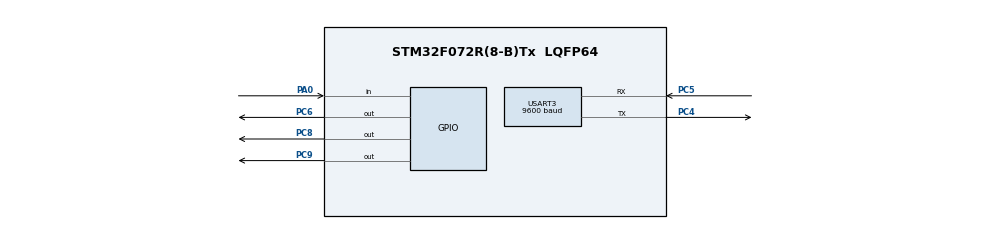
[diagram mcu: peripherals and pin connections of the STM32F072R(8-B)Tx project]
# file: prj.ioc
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FREERTOS.Tasks01=motorControl,0,128,StartMotorControl,Default,NULL,Dynamic,NULL,NULL;mainTask,-3,128,StartMainTask,Default,NULL,Dynamic,NULL,NULL
Mcu.Family=STM32F0
Mcu.Name=STM32F072R(8-B)Tx
Mcu.Package=LQFP64
PA0.Signal=GPIO_Input
PC4.Mode=Asynchronous
PC4.Signal=USART3_TX
PC5.Mode=Asynchronous
PC5.Signal=USART3_RX
PC6.Signal=GPIO_Output
PC8.Signal=GPIO_Output
PC9.Signal=GPIO_Output
ProjectManager.HeapSize=0x200
ProjectManager.StackSize=0x400
ProjectManager.TargetToolchain=MDK-ARM V5
USART3.BaudRate=9600
USART3.VirtualMode-Asynchronous=VM_ASYNC
USART3.WordLength=WORDLENGTH_8B
VP_FREERTOS_VS_ENABLE.Mode=Enabled
board=prj

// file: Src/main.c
/**
  ******************************************************************************
  * File Name          : main.c
  * Description        : Main program body
  ******************************************************************************
  * This notice applies to any and all portions of this file
  * that are not between comment pairs USER CODE BEGIN and
  * USER CODE END. Other portions of this file, whether
  * inserted by the user or by software development tools
  * are owned by their respective copyright owners.
  *
  * Copyright (c) 2017 STMicroelectronics International N.V.
  * All rights reserved.
  *
  * Redistribution and use in source and binary forms, with or without
  * modification, are permitted, provided that the following conditions are met:
  *
  * 1. Redistribution of source code must retain the above copyright notice,
  *    this list of conditions and the following disclaimer.
  * 2. Redistributions in binary form must reproduce the above copyright notice,
  *    this list of conditions and the following disclaimer in the documentation
  *    and/or other materials provided with the distribution.
  * 3. Neither the name of STMicroelectronics nor the names of other
  *    contributors to this software may be used to endorse or promote products
  *    derived from this software without specific written permission.
  * 4. This software, including modifications and/or derivative works of this
  *    software, must execute solely and exclusively on microcontroller or
  *    microprocessor devices manufactured by or for STMicroelectronics.
  * 5. Redistribution and use of this software other than as permitted under
  *    this license is void and will automatically terminate your rights under
  *    this license.
  *
  * THIS SOFTWARE IS PROVIDED BY STMICROELECTRONICS AND CONTRIBUTORS "AS IS"
  * AND ANY EXPRESS, IMPLIED OR STATUTORY WARRANTIES, INCLUDING, BUT NOT
  * LIMITED TO, THE IMPLIED WARRANTIES OF MERCHANTABILITY, FITNESS FOR A
  * PARTICULAR PURPOSE AND NON-INFRINGEMENT OF THIRD PARTY INTELLECTUAL PROPERTY
  * RIGHTS ARE DISCLAIMED TO THE FULLEST EXTENT PERMITTED BY LAW. IN NO EVENT
  * SHALL STMICROELECTRONICS OR CONTRIBUTORS BE LIABLE FOR ANY DIRECT, INDIRECT,
  * INCIDENTAL, SPECIAL, EXEMPLARY, OR CONSEQUENTIAL DAMAGES (INCLUDING, BUT NOT
  * LIMITED TO, PROCUREMENT OF SUBSTITUTE GOODS OR SERVICES; LOSS OF USE, DATA,
  * OR PROFITS; OR BUSINESS INTERRUPTION) HOWEVER CAUSED AND ON ANY THEORY OF
  * LIABILITY, WHETHER IN CONTRACT, STRICT LIABILITY, OR TORT (INCLUDING
  * NEGLIGENCE OR OTHERWISE) ARISING IN ANY WAY OUT OF THE USE OF THIS SOFTWARE,
  * EVEN IF ADVISED OF THE POSSIBILITY OF SUCH DAMAGE.
  *
  ******************************************************************************
  */
#include "main.h"
#include "stm32f0xx_hal.h"
#include "cmsis_os.h"

/* USER CODE BEGIN Includes */
#include "motor.h"
/* USER CODE END Includes */

UART_HandleTypeDef huart3;

osThreadId motorControlHandle;
osThreadId mainTaskHandle;

/* USER CODE BEGIN PV */
/* Private variables ---------------------------------------------------------*/
xQueueHandle motorQueue;
/* USER CODE END PV */

void SystemClock_Config(void);
static void MX_GPIO_Init(void);
static void MX_USART3_UART_Init(void);
void StartMotorControl(void const * argument);
void StartMainTask(void const * argument);

/* USER CODE BEGIN PFP */
/* Private function prototypes -----------------------------------------------*/

/* USER CODE END PFP */

int main(void)
{

  /* MCU Configuration----------------------------------------------------------*/

  /* Reset of all peripherals, Initializes the Flash interface and the Systick. */
  HAL_Init();

  /* Configure the system clock */
  SystemClock_Config();

  /* Initialize all configured peripherals */
  MX_GPIO_Init();
  MX_USART3_UART_Init();

  /* Create the thread(s) */
  /* definition and creation of motorControl */
  osThreadDef(motorControl, StartMotorControl, osPriorityNormal, 0, 128);
  motorControlHandle = osThreadCreate(osThread(motorControl), NULL);

  /* definition and creation of mainTask */
  osThreadDef(mainTask, StartMainTask, osPriorityIdle, 0, 128);
  mainTaskHandle = osThreadCreate(osThread(mainTask), NULL);

  /* USER CODE BEGIN RTOS_QUEUES */
  motorQueue = xQueueCreate( 10, sizeof( FullMotorPackage ) );
  /* USER CODE END RTOS_QUEUES */

  /* Start scheduler */
  osKernelStart();

  /* We should never get here as control is now taken by the scheduler */

  /* Infinite loop */
  while (1)
  {

  }

}

/** System Clock Configuration
*/
void SystemClock_Config(void)
{

  RCC_OscInitTypeDef RCC_OscInitStruct;
  RCC_ClkInitTypeDef RCC_ClkInitStruct;

    /**Initializes the CPU, AHB and APB busses clocks
    */
  RCC_OscInitStruct.OscillatorType = RCC_OSCILLATORTYPE_HSI;
  RCC_OscInitStruct.HSIState = RCC_HSI_ON;
  RCC_OscInitStruct.HSICalibrationValue = 16;
  RCC_OscInitStruct.PLL.PLLState = RCC_PLL_NONE;
  if (HAL_RCC_OscConfig(&RCC_OscInitStruct) != HAL_OK)
  {
    _Error_Handler(__FILE__, __LINE__);
  }

    /**Initializes the CPU, AHB and APB busses clocks
    */
  RCC_ClkInitStruct.ClockType = RCC_CLOCKTYPE_HCLK|RCC_CLOCKTYPE_SYSCLK
                              |RCC_CLOCKTYPE_PCLK1;
  RCC_ClkInitStruct.SYSCLKSource = RCC_SYSCLKSOURCE_HSI;
  RCC_ClkInitStruct.AHBCLKDivider = RCC_SYSCLK_DIV1;
  RCC_ClkInitStruct.APB1CLKDivider = RCC_HCLK_DIV1;

  if (HAL_RCC_ClockConfig(&RCC_ClkInitStruct, FLASH_LATENCY_0) != HAL_OK)
  {
    _Error_Handler(__FILE__, __LINE__);
  }

    /**Configure the Systick interrupt time
    */
  HAL_SYSTICK_Config(HAL_RCC_GetHCLKFreq()/1000);

    /**Configure the Systick
    */
  HAL_SYSTICK_CLKSourceConfig(SYSTICK_CLKSOURCE_HCLK);

  /* SysTick_IRQn interrupt configuration */
  HAL_NVIC_SetPriority(SysTick_IRQn, 3, 0);
}

/* USART3 init function */
static void MX_USART3_UART_Init(void)
{

  huart3.Instance = USART3;
  huart3.Init.BaudRate = 9600;
  huart3.Init.WordLength = UART_WORDLENGTH_8B;
  huart3.Init.StopBits = UART_STOPBITS_1;
  huart3.Init.Parity = UART_PARITY_NONE;
  huart3.Init.Mode = UART_MODE_TX_RX;
  huart3.Init.HwFlowCtl = UART_HWCONTROL_NONE;
  huart3.Init.OverSampling = UART_OVERSAMPLING_16;
  huart3.Init.OneBitSampling = UART_ONE_BIT_SAMPLE_DISABLE;
  huart3.AdvancedInit.AdvFeatureInit = UART_ADVFEATURE_NO_INIT;
  if (HAL_UART_Init(&huart3) != HAL_OK)
  {
    _Error_Handler(__FILE__, __LINE__);
  }

}

/** Configure pins as
        * Analog
        * Input
        * Output
        * EVENT_OUT
        * EXTI
*/
static void MX_GPIO_Init(void)
{

  GPIO_InitTypeDef GPIO_InitStruct;

  /* GPIO Ports Clock Enable */
  __HAL_RCC_GPIOA_CLK_ENABLE();
  __HAL_RCC_GPIOC_CLK_ENABLE();

  /*Configure GPIO pin Output Level */
  HAL_GPIO_WritePin(GPIOC, GPIO_PIN_6|GPIO_PIN_8|GPIO_PIN_9, GPIO_PIN_RESET);

  /*Configure GPIO pin : PA0 */
  GPIO_InitStruct.Pin = GPIO_PIN_0;
  GPIO_InitStruct.Mode = GPIO_MODE_INPUT;
  GPIO_InitStruct.Pull = GPIO_NOPULL;
  HAL_GPIO_Init(GPIOA, &GPIO_InitStruct);

  /*Configure GPIO pins : PC6 PC8 PC9 */
  GPIO_InitStruct.Pin = GPIO_PIN_6|GPIO_PIN_8|GPIO_PIN_9;
  GPIO_InitStruct.Mode = GPIO_MODE_OUTPUT_PP;
  GPIO_InitStruct.Pull = GPIO_NOPULL;
  GPIO_InitStruct.Speed = GPIO_SPEED_FREQ_LOW;
  HAL_GPIO_Init(GPIOC, &GPIO_InitStruct);

}

/* StartMotorControl function */
void StartMotorControl(void const * argument)
{

  /* USER CODE BEGIN 5 */
  /* Infinite loop */

	uint8_t buffer[sizeof( FullMotorPackage )];
	FullMotorPackage *fullMotorPackage;
	for(;;)
  {
    xQueueReceive( motorQueue, &( buffer ), portMAX_DELAY );
		fullMotorPackage = (FullMotorPackage*)buffer;
		MoveMotor(FrontLeft, fullMotorPackage->FrontLeft);
		MoveMotor(FrontRight, fullMotorPackage->FrontRight);
 		MoveMotor(BackLeft, fullMotorPackage->BackLeft);
		MoveMotor(BackRight, fullMotorPackage->BackRight);
  }
  /* USER CODE END 5 */
}

/* StartMainTask function */
void StartMainTask(void const * argument)
{
  /* USER CODE BEGIN StartMainTask */
  /* Infinite loop */
	FullMotorPackage fullMotorPackage;
	fullMotorPackage.BackLeft.direction = Forward;
	fullMotorPackage.BackLeft.speed = 10;

  for(;;)
  {
		fullMotorPackage.BackLeft.direction = Forward;
		fullMotorPackage.BackLeft.speed = 20;
		xQueueSend( motorQueue, ( void * ) &fullMotorPackage, portMAX_DELAY  );
    osDelay(1000);

		fullMotorPackage.BackLeft.direction = Forward;
		fullMotorPackage.BackLeft.speed = 50;
		xQueueSend( motorQueue, ( void * ) &fullMotorPackage, portMAX_DELAY  );
		osDelay(1000);
	}
  /* USER CODE END StartMainTask */
}

void _Error_Handler(char * file, int line)
{
  while(1)
  {
  }
}

/************************ (C) COPYRIGHT STMicroelectronics *****END OF FILE****/
